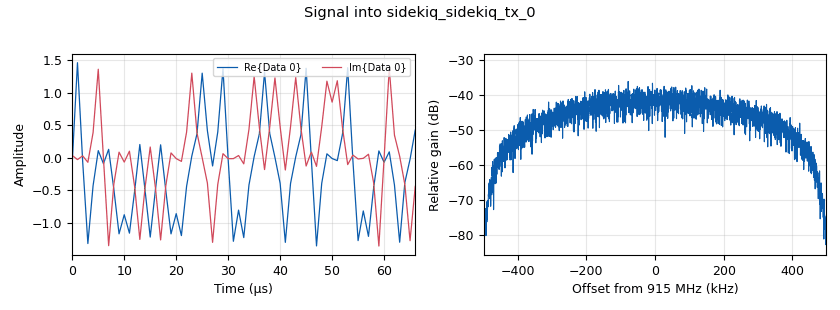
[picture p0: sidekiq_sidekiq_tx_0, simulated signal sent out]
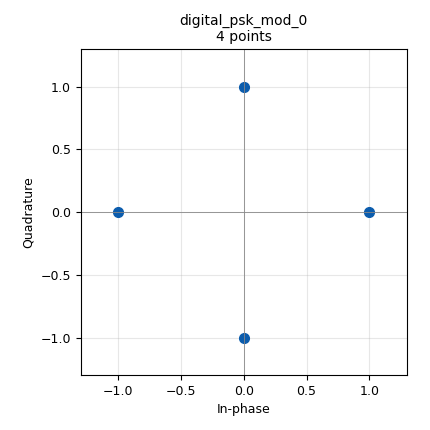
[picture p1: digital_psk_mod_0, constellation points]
<?xml version='1.0' encoding='utf-8'?>
<?grc format='1' created='3.7.12'?>
<flow_graph>
<block>
<key>options</key>
<param><key>id</key><value>top_block</value></param>
<param><key>generate_options</key><value>qt_gui</value></param>
</block>
<block>
<key>variable_qtgui_range</key>
<param><key>id</key><value>alpha_range</value></param>
<param><key>value</key><value>.1</value></param>
<param><key>label</key><value>Alpha</value></param>
<param><key>orient</key><value>Qt.Horizontal</value></param>
<param><key>start</key><value>.1</value></param>
<param><key>step</key><value>.05</value></param>
<param><key>stop</key><value>1</value></param>
</block>
<block>
<key>variable_qtgui_range</key>
<param><key>id</key><value>bandwidth</value></param>
<param><key>value</key><value>sample_rate</value></param>
<param><key>gui_hint</key><value>1,1,1,1</value></param>
<param><key>label</key><value>Bandwidth</value></param>
<param><key>orient</key><value>Qt.Horizontal</value></param>
<param><key>start</key><value>0.1e6</value></param>
<param><key>step</key><value>0.1e6</value></param>
<param><key>stop</key><value>max_sample_rate</value></param>
</block>
<block>
<key>variable_qtgui_range</key>
<param><key>id</key><value>burst_interval_range</value></param>
<param><key>value</key><value>100</value></param>
<param><key>gui_hint</key><value>2,1,1,1</value></param>
<param><key>label</key><value>Burst Interval</value></param>
<param><key>orient</key><value>Qt.Horizontal</value></param>
<param><key>start</key><value>1</value></param>
<param><key>step</key><value>.1</value></param>
<param><key>stop</key><value>1000</value></param>
</block>
<block>
<key>variable_qtgui_range</key>
<param><key>id</key><value>burst_length_range</value></param>
<param><key>value</key><value>20</value></param>
<param><key>gui_hint</key><value>2,0,1,1</value></param>
<param><key>label</key><value>Burst Length</value></param>
<param><key>orient</key><value>Qt.Horizontal</value></param>
<param><key>start</key><value>1</value></param>
<param><key>step</key><value>.1</value></param>
<param><key>stop</key><value>1000</value></param>
</block>
<block>
<key>variable_qtgui_range</key>
<param><key>id</key><value>center_freq</value></param>
<param><key>value</key><value>915e6</value></param>
<param><key>gui_hint</key><value>0,0,1,1</value></param>
<param><key>label</key><value>Frequency</value></param>
<param><key>orient</key><value>Qt.Horizontal</value></param>
<param><key>start</key><value>100e6</value></param>
<param><key>step</key><value>1e6</value></param>
<param><key>stop</key><value>6000e6</value></param>
</block>
<block>
<key>variable_qtgui_range</key>
<param><key>id</key><value>gain</value></param>
<param><key>value</key><value>55</value></param>
<param><key>gui_hint</key><value>0,1,1,1</value></param>
<param><key>label</key><value>Gain</value></param>
<param><key>orient</key><value>Qt.Horizontal</value></param>
<param><key>start</key><value>1</value></param>
<param><key>step</key><value>1</value></param>
<param><key>stop</key><value>76</value></param>
</block>
<block>
<key>variable</key>
<param><key>id</key><value>gaussian_filter_taps</value></param>
<param><key>value</key><value>firdes.gaussian(1.0, 2.0, alpha_range, 128)</value></param>
</block>
<block>
<key>variable</key>
<param><key>id</key><value>max_sample_rate</value></param>
<param><key>value</key><value>56e6</value></param>
</block>
<block>
<key>variable</key>
<param><key>id</key><value>rrc_filter_taps</value></param>
<param><key>value</key><value>firdes.root_raised_cosine(1, sample_rate, sample_rate/2.0, alpha_range, 128)</value></param>
</block>
<block>
<key>variable_qtgui_range</key>
<param><key>id</key><value>sample_rate</value></param>
<param><key>value</key><value>1e6</value></param>
<param><key>gui_hint</key><value>1,0,1,1</value></param>
<param><key>label</key><value>Sample Rate</value></param>
<param><key>orient</key><value>Qt.Horizontal</value></param>
<param><key>start</key><value>0.1e6</value></param>
<param><key>step</key><value>0.1e6</value></param>
<param><key>stop</key><value>max_sample_rate</value></param>
</block>
<block>
<key>variable</key>
<param><key>id</key><value>source_min_output_buffer</value></param>
<param><key>value</key><value>2**14*2</value></param>
</block>
<block>
<key>variable_function_probe</key>
<param><key>id</key><value>variable_function_probe_0</value></param>
<param><key>block_id</key><value>blocks_probe_rate_0</value></param>
<param><key>function_name</key><value>rate</value></param>
<param><key>value</key><value>0</value></param>
<param><key>poll_rate</key><value>10</value></param>
</block>
<block>
<key>variable_qtgui_label</key>
<param><key>id</key><value>variable_qtgui_label_0</value></param>
<param><key>value</key><value>variable_function_probe_0</value></param>
<param><key>gui_hint</key><value>5,0,1,1</value></param>
<param><key>label</key><value>Rx Rate</value></param>
<param><key>type</key><value>real</value></param>
</block>
<block>
<key>variable</key>
<param><key>id</key><value>vector_length</value></param>
<param><key>value</key><value>1</value></param>
</block>
<block>
<key>analog_random_source_x</key>
<param><key>id</key><value>analog_random_source_x_0</value></param>
<param><key>max</key><value>255</value></param>
<param><key>min</key><value>0</value></param>
<param><key>num_samps</key><value>100000</value></param>
<param><key>type</key><value>byte</value></param>
<param><key>repeat</key><value>True</value></param>
</block>
<block>
<key>blocks_message_debug</key>
<param><key>id</key><value>blocks_message_debug_0</value></param>
<param><key>_enabled</key><value>0</value></param>
</block>
<block>
<key>blocks_probe_rate</key>
<param><key>id</key><value>blocks_probe_rate_0</value></param>
<param><key>type</key><value>complex</value></param>
<param><key>mintime</key><value>500.0</value></param>
<param><key>alpha</key><value>0.15</value></param>
</block>
<block>
<key>blocks_repeat</key>
<param><key>id</key><value>blocks_repeat_0</value></param>
<param><key>_enabled</key><value>0</value></param>
<param><key>interp</key><value>2</value></param>
<param><key>minoutbuf</key><value>source_min_output_buffer</value></param>
<param><key>type</key><value>complex</value></param>
</block>
<block>
<key>blocks_tag_debug</key>
<param><key>id</key><value>blocks_tag_debug_0</value></param>
<param><key>type</key><value>complex</value></param>
</block>
<block>
<key>blocks_throttle</key>
<param><key>id</key><value>blocks_throttle_0</value></param>
<param><key>_enabled</key><value>2</value></param>
<param><key>samples_per_second</key><value>sample_rate</value></param>
<param><key>type</key><value>complex</value></param>
</block>
<block>
<key>blocks_unpack_k_bits_bb</key>
<param><key>id</key><value>blocks_unpack_k_bits_bb_0</value></param>
<param><key>_enabled</key><value>0</value></param>
<param><key>k</key><value>8</value></param>
</block>
<block>
<key>digital_chunks_to_symbols_xx</key>
<param><key>id</key><value>digital_chunks_to_symbols_xx_0</value></param>
<param><key>dimension</key><value>2</value></param>
<param><key>_enabled</key><value>0</value></param>
<param><key>in_type</key><value>byte</value></param>
<param><key>out_type</key><value>complex</value></param>
<param><key>symbol_table</key><value>[-1-1j, -1+1j]</value></param>
</block>
<block>
<key>digital_diff_encoder_bb</key>
<param><key>id</key><value>digital_diff_encoder_bb_0</value></param>
<param><key>_enabled</key><value>0</value></param>
<param><key>modulus</key><value>2</value></param>
</block>
<block>
<key>digital_psk_mod</key>
<param><key>id</key><value>digital_psk_mod_0</value></param>
<param><key>differential</key><value>True</value></param>
<param><key>excess_bw</key><value>1</value></param>
<param><key>mod_code</key><value>"gray"</value></param>
<param><key>minoutbuf</key><value>source_min_output_buffer*2</value></param>
<param><key>constellation_points</key><value>4</value></param>
<param><key>samples_per_symbol</key><value>2</value></param>
</block>
<block>
<key>sidekiq_sidekiq_tx</key>
<param><key>id</key><value>sidekiq_sidekiq_tx_0</value></param>
<param><key>card</key><value>0</value></param>
<param><key>attenuation</key><value>gain</value></param>
<param><key>bandwidth</key><value>bandwidth</value></param>
<param><key>buffer_size</key><value>1020</value></param>
<param><key>dataflow_mode</key><value>0</value></param>
<param><key>filter_override_taps</key><value></value></param>
<param><key>frequency</key><value>center_freq</value></param>
<param><key>sample_rate</key><value>sample_rate</value></param>
<param><key>suppress_tune_transients</key><value>bool(True)</value></param>
<param><key>sync</key><value>1</value></param>
</block>
<block>
<key>virtual_sink</key>
<param><key>id</key><value>virtual_sink_0</value></param>
<param><key>_enabled</key><value>0</value></param>
<param><key>stream_id</key><value>telemetry_message</value></param>
</block>
<connection><source_block_id>analog_random_source_x_0</source_block_id><sink_block_id>blocks_unpack_k_bits_bb_0</sink_block_id><source_key>0</source_key><sink_key>0</sink_key></connection>
<connection><source_block_id>analog_random_source_x_0</source_block_id><sink_block_id>digital_psk_mod_0</sink_block_id><source_key>0</source_key><sink_key>0</sink_key></connection>
<connection><source_block_id>blocks_repeat_0</source_block_id><sink_block_id>blocks_throttle_0</sink_block_id><source_key>0</source_key><sink_key>0</sink_key></connection>
<connection><source_block_id>blocks_throttle_0</source_block_id><sink_block_id>blocks_probe_rate_0</sink_block_id><source_key>0</source_key><sink_key>0</sink_key></connection>
<connection><source_block_id>blocks_throttle_0</source_block_id><sink_block_id>blocks_tag_debug_0</sink_block_id><source_key>0</source_key><sink_key>0</sink_key></connection>
<connection><source_block_id>blocks_throttle_0</source_block_id><sink_block_id>sidekiq_sidekiq_tx_0</sink_block_id><source_key>0</source_key><sink_key>0</sink_key></connection>
<connection><source_block_id>blocks_unpack_k_bits_bb_0</source_block_id><sink_block_id>digital_diff_encoder_bb_0</sink_block_id><source_key>0</source_key><sink_key>0</sink_key></connection>
<connection><source_block_id>digital_chunks_to_symbols_xx_0</source_block_id><sink_block_id>blocks_repeat_0</sink_block_id><source_key>0</source_key><sink_key>0</sink_key></connection>
<connection><source_block_id>digital_diff_encoder_bb_0</source_block_id><sink_block_id>digital_chunks_to_symbols_xx_0</sink_block_id><source_key>0</source_key><sink_key>0</sink_key></connection>
<connection><source_block_id>digital_psk_mod_0</source_block_id><sink_block_id>blocks_throttle_0</sink_block_id><source_key>0</source_key><sink_key>0</sink_key></connection>
<connection><source_block_id>sidekiq_sidekiq_tx_0</source_block_id><sink_block_id>blocks_message_debug_0</sink_block_id><source_key>telemetry</source_key><sink_key>print</sink_key></connection>
<connection><source_block_id>sidekiq_sidekiq_tx_0</source_block_id><sink_block_id>virtual_sink_0</sink_block_id><source_key>telemetry</source_key><sink_key>0</sink_key></connection>
</flow_graph>
